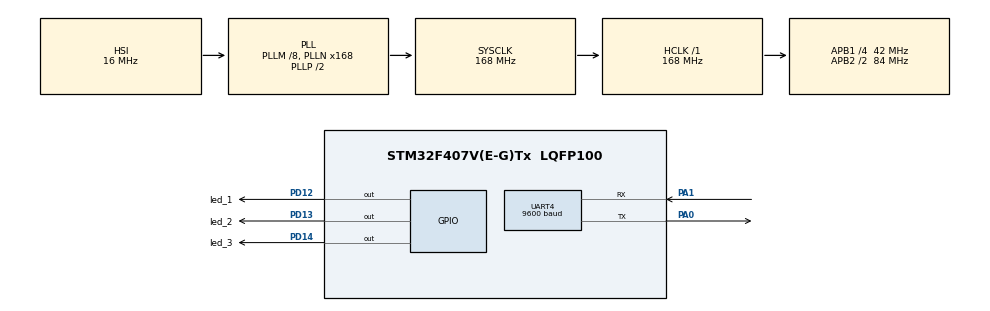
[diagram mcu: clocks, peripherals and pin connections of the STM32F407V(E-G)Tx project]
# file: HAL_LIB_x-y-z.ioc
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Mcu.Family=STM32F4
Mcu.Name=STM32F407V(E-G)Tx
Mcu.Package=LQFP100
NVIC.PriorityGroup=NVIC_PRIORITYGROUP_4
NVIC.UART4_IRQn=true\:0\:0\:false\:false\:true\:true\:true
PA0-WKUP.Mode=Asynchronous
PA0-WKUP.Signal=UART4_TX
PA1.Mode=Asynchronous
PA1.Signal=UART4_RX
PD12.GPIO_Label=led_1
PD12.Signal=GPIO_Output
PD13.GPIO_Label=led_2
PD13.Signal=GPIO_Output
PD14.GPIO_Label=led_3
PD14.Signal=GPIO_Output
ProjectManager.HeapSize=0x200
ProjectManager.StackSize=0x400
ProjectManager.TargetToolchain=STM32CubeIDE
RCC.48MHZClocksFreq_Value=84000000
RCC.AHBFreq_Value=168000000
RCC.APB1CLKDivider=RCC_HCLK_DIV4
RCC.APB1Freq_Value=42000000
RCC.APB1TimFreq_Value=84000000
RCC.APB2CLKDivider=RCC_HCLK_DIV2
RCC.APB2Freq_Value=84000000
RCC.APB2TimFreq_Value=168000000
RCC.CortexFreq_Value=168000000
RCC.HCLKFreq_Value=168000000
RCC.HSE_VALUE=25000000
RCC.HSI_VALUE=16000000
RCC.LSE_VALUE=32768
RCC.PLLM=8
RCC.PLLN=168
RCC.SYSCLKFreq_VALUE=168000000
RCC.SYSCLKSource=RCC_SYSCLKSOURCE_PLLCLK
RCC.VCOOutputFreq_Value=336000000
UART4.BaudRate=9600
UART4.VirtualMode=Asynchronous
board=custom

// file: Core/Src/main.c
/* USER CODE BEGIN Header */
#define BUFFER_SIZE 100
/**
  ******************************************************************************
  * @file           : main.c
  * @brief          : Main program body
  ******************************************************************************
  * @attention
  *
  * Copyright (c) 2022 STMicroelectronics.
  * All rights reserved.
  *
  * This software is licensed under terms that can be found in the LICENSE file
  * in the root directory of this software component.
  * If no LICENSE file comes with this software, it is provided AS-IS.
  *
  ******************************************************************************
  */
/* USER CODE END Header */
#include "main.h"

/* USER CODE BEGIN Includes */
#include "stdbool.h"
#include "stdio.h"
#include "string.h"

/* USER CODE END Includes */

UART_HandleTypeDef huart4;

void SystemClock_Config(void);
static void MX_GPIO_Init(void);
static void MX_UART4_Init(void);
/* USER CODE BEGIN PFP */

typedef struct UART_Buffer_Type{
	uint32_t buffer[BUFFER_SIZE];
	uint32_t head_pointer;
	uint32_t tail_pointer;
}UART_Buffer_t;

volatile UART_Buffer_t UART_BufferRX;

int stp_say=0;
unsigned int x_gelen;
char x_cikti[3];

/* USER CODE END PFP */

/* USER CODE BEGIN 0 */
void UART4_IRQHandler(void) {
	uint32_t isrflags = UART4->SR;
	uint32_t control_reg1 = UART4->CR1;

	/* WIFI MODÜL UART in mode Receiver */

	if (((isrflags & USART_SR_RXNE) != RESET)
			&& ((control_reg1 & USART_CR1_RXNEIE) != RESET)) {
		UART_BufferRX.buffer[UART_BufferRX.head_pointer] = UART4->DR;
		UART_BufferRX.head_pointer = UART_BufferRX.head_pointer + 1;

		if (UART_BufferRX.head_pointer >= BUFFER_SIZE) {
			UART_BufferRX.head_pointer = 0;
		}
		return;
	}
	HAL_GPIO_TogglePin(GPIOD, led_3_Pin);
	HAL_Delay(200);
	/* USER CODE END UART4_IRQn 0 */
	HAL_UART_IRQHandler(&huart4);
	/* USER CODE BEGIN UART4_IRQn 1 */

	/* USER CODE END UART4_IRQn 1 */
}

void bt_veri_al_x (void)
{
if ((char)UART_BufferRX.buffer[UART_BufferRX.tail_pointer] == 'X')
		{
		for (int i = 0 ; i<stp_say ;i++)
			x_cikti[i] = UART_BufferRX.buffer[UART_BufferRX.tail_pointer + i + 1];
		}
	x_gelen = atoi(x_cikti);
}

bool STP_kontrol()
{
	for (int s=1; s<6; s++)
	{
		if ((char)UART_BufferRX.buffer[UART_BufferRX.tail_pointer + s] == 'S' || (char)UART_BufferRX.buffer[UART_BufferRX.tail_pointer + s+1] == 'T' || (char)UART_BufferRX.buffer[UART_BufferRX.tail_pointer + s+2] == 'P')
		{
			stp_say = s;
		return true;
		}
	}
	return false;
}
/* USER CODE END 0 */

int main(void)
{

  /* MCU Configuration--------------------------------------------------------*/

  /* Reset of all peripherals, Initializes the Flash interface and the Systick. */
  HAL_Init();

  /* Configure the system clock */
  SystemClock_Config();

  /* Initialize all configured peripherals */
  MX_GPIO_Init();
  MX_UART4_Init();
  /* USER CODE BEGIN 2 */

	  HAL_GPIO_WritePin(GPIOD, led_3_Pin, GPIO_PIN_SET);
	  HAL_Delay(200);
	  HAL_GPIO_WritePin(GPIOD, led_3_Pin, GPIO_PIN_RESET);
	  HAL_Delay(200);

  /* USER CODE END 2 */

  /* Infinite loop */
  while (1)
  {

    /* USER CODE BEGIN 3 */
		if (UART_BufferRX.tail_pointer >= BUFFER_SIZE) UART_BufferRX.tail_pointer = 0;
		if(abs(UART_BufferRX.head_pointer - UART_BufferRX.tail_pointer) > 20)
		{
			UART_BufferRX.tail_pointer++;
		}

		if((char)UART_BufferRX.buffer[UART_BufferRX.tail_pointer] == 'X' & STP_kontrol()==1)
		bt_veri_al_x();

		if (x_gelen==20){
		  HAL_GPIO_WritePin(GPIOD, led_1_Pin, GPIO_PIN_SET);
		  HAL_GPIO_WritePin(GPIOD, led_2_Pin, GPIO_PIN_RESET);
		}
		if (x_gelen==50){
		  HAL_GPIO_WritePin(GPIOD, led_2_Pin, GPIO_PIN_SET);
		  HAL_GPIO_WritePin(GPIOD, led_1_Pin, GPIO_PIN_RESET);
		}

  }
  /* USER CODE END 3 */
}

void SystemClock_Config(void)
{
  RCC_OscInitTypeDef RCC_OscInitStruct = {0};
  RCC_ClkInitTypeDef RCC_ClkInitStruct = {0};

  /** Configure the main internal regulator output voltage
  */
  __HAL_RCC_PWR_CLK_ENABLE();
  __HAL_PWR_VOLTAGESCALING_CONFIG(PWR_REGULATOR_VOLTAGE_SCALE1);
  /** Initializes the RCC Oscillators according to the specified parameters
  * in the RCC_OscInitTypeDef structure.
  */
  RCC_OscInitStruct.OscillatorType = RCC_OSCILLATORTYPE_HSI;
  RCC_OscInitStruct.HSIState = RCC_HSI_ON;
  RCC_OscInitStruct.HSICalibrationValue = RCC_HSICALIBRATION_DEFAULT;
  RCC_OscInitStruct.PLL.PLLState = RCC_PLL_ON;
  RCC_OscInitStruct.PLL.PLLSource = RCC_PLLSOURCE_HSI;
  RCC_OscInitStruct.PLL.PLLM = 8;
  RCC_OscInitStruct.PLL.PLLN = 168;
  RCC_OscInitStruct.PLL.PLLP = RCC_PLLP_DIV2;
  RCC_OscInitStruct.PLL.PLLQ = 4;
  if (HAL_RCC_OscConfig(&RCC_OscInitStruct) != HAL_OK)
  {
    Error_Handler();
  }
  /** Initializes the CPU, AHB and APB buses clocks
  */
  RCC_ClkInitStruct.ClockType = RCC_CLOCKTYPE_HCLK|RCC_CLOCKTYPE_SYSCLK
                              |RCC_CLOCKTYPE_PCLK1|RCC_CLOCKTYPE_PCLK2;
  RCC_ClkInitStruct.SYSCLKSource = RCC_SYSCLKSOURCE_PLLCLK;
  RCC_ClkInitStruct.AHBCLKDivider = RCC_SYSCLK_DIV1;
  RCC_ClkInitStruct.APB1CLKDivider = RCC_HCLK_DIV4;
  RCC_ClkInitStruct.APB2CLKDivider = RCC_HCLK_DIV2;

  if (HAL_RCC_ClockConfig(&RCC_ClkInitStruct, FLASH_LATENCY_5) != HAL_OK)
  {
    Error_Handler();
  }
}

static void MX_UART4_Init(void)
{

  huart4.Instance = UART4;
  huart4.Init.BaudRate = 9600;
  huart4.Init.WordLength = UART_WORDLENGTH_8B;
  huart4.Init.StopBits = UART_STOPBITS_1;
  huart4.Init.Parity = UART_PARITY_NONE;
  huart4.Init.Mode = UART_MODE_TX_RX;
  huart4.Init.HwFlowCtl = UART_HWCONTROL_NONE;
  huart4.Init.OverSampling = UART_OVERSAMPLING_16;
  if (HAL_UART_Init(&huart4) != HAL_OK)
  {
    Error_Handler();
  }

}

static void MX_GPIO_Init(void)
{
  GPIO_InitTypeDef GPIO_InitStruct = {0};

  /* GPIO Ports Clock Enable */
  __HAL_RCC_GPIOA_CLK_ENABLE();
  __HAL_RCC_GPIOD_CLK_ENABLE();

  /*Configure GPIO pin Output Level */
  HAL_GPIO_WritePin(GPIOD, led_1_Pin|led_2_Pin|led_3_Pin, GPIO_PIN_RESET);

  /*Configure GPIO pins : led_1_Pin led_2_Pin led_3_Pin */
  GPIO_InitStruct.Pin = led_1_Pin|led_2_Pin|led_3_Pin;
  GPIO_InitStruct.Mode = GPIO_MODE_OUTPUT_PP;
  GPIO_InitStruct.Pull = GPIO_NOPULL;
  GPIO_InitStruct.Speed = GPIO_SPEED_FREQ_LOW;
  HAL_GPIO_Init(GPIOD, &GPIO_InitStruct);

}

void Error_Handler(void)
{
  __disable_irq();
  while (1)
  {
  }
}
